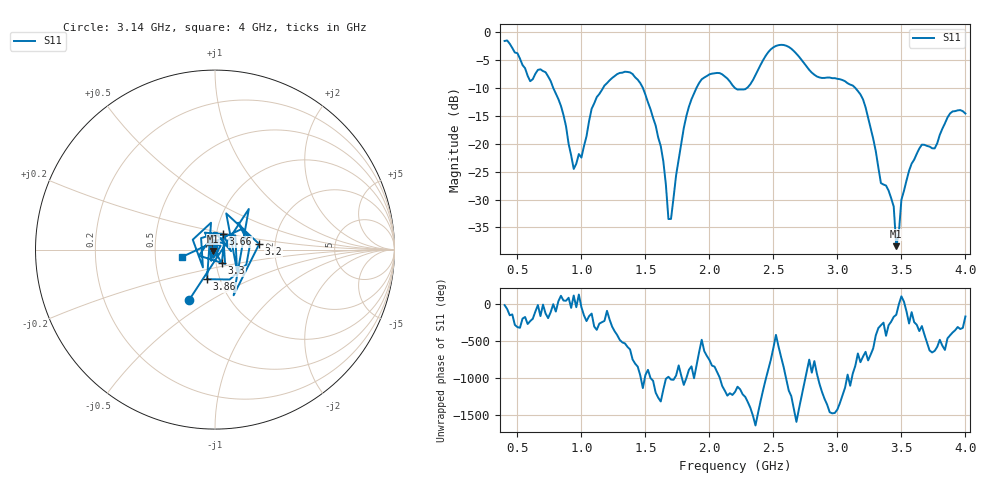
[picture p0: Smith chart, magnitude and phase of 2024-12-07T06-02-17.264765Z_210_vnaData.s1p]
!Created with skrf (http://scikit-rf.org).
# Hz S RI R 50.0
!freq ReS11 ImS11
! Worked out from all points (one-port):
!   181 points, 400 MHz to 4 GHz, reference 50 ohm
!   lowest |S11| = -38.3 dB at 3.46 GHz (marker M1), VSWR 1.02, Z = 49 - j0.699 ohm
!   |S11| at or under -10 dB: 778.9 MHz to 1.171 GHz (392.1 MHz wide, 40.2 % of centre); 1.479 GHz to 1.9 GHz (420.9 MHz wide, 24.9 % of centre); 3.137 GHz to end of sweep (the widest 3 of 4)
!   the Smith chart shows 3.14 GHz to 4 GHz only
!   S11 on the Smith chart (normalised r, x): 3.14 GHz: 0.65, -0.40; 3.2 GHz: 1.65, +0.11; 3.3 GHz: 1.06, -0.16; 3.66 GHz: 1.08, +0.19; 3.86 GHz: 0.87, -0.29; 4 GHz: 0.69, -0.06
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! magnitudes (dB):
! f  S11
! 400 MHz  -1.7
! 600 MHz  -8.9
! 720 MHz  -7.3
! 860 MHz  -14.9
! 940 MHz  -24.5
! 1.12 GHz  -11.7
! 1.3 GHz  -7.4
! 1.54 GHz  -13.9
! 1.64 GHz  -23.2
! 1.68 GHz  -33.5
! 1.76 GHz  -22.8
! 1.84 GHz  -13.4
! 1.94 GHz  -8.5
! 2.2 GHz  -10.1
! 2.5 GHz  -2.8
! 2.66 GHz  -3.5
! 3.1 GHz  -9.5
! 3.14 GHz  -10.1
! 3.2 GHz  -12.1
! 3.3 GHz  -21.4
! 3.44 GHz  -31.3
! 3.46 GHz  -38.3
! 3.5 GHz  -30.1
! 3.56 GHz  -24.9
! 3.66 GHz  -20.2
! 3.76 GHz  -20.9
! 3.86 GHz  -15.4
! 4 GHz  -14.6
